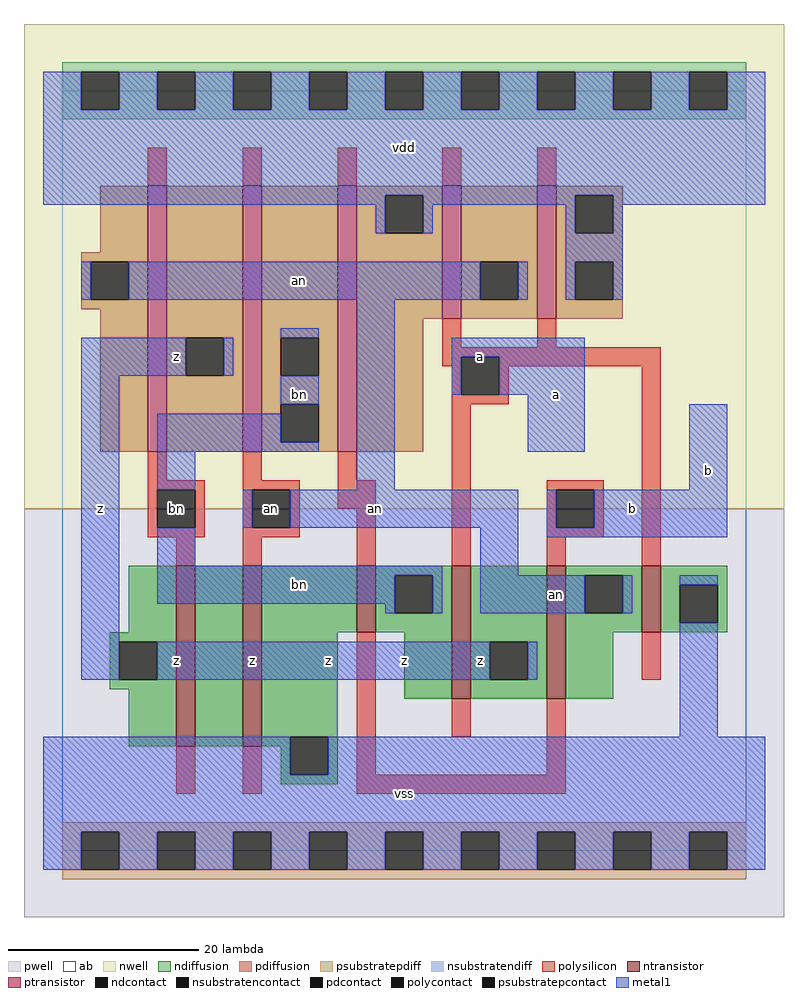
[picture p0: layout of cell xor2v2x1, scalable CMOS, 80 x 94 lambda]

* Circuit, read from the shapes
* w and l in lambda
.subckt xor2v2x1 a an b bn vdd vss z
M1 n1 bn z vss nfet w=19 l=2
M2 vss an n1 vss nfet w=19 l=2
M3 bn b vss vss nfet w=7 l=2
M4 z a bn vss nfet w=14 l=2
M5 an b z vss nfet w=14 l=2
M6 vss a an vss nfet w=7 l=2
M7 z bn an vdd pfet w=28 l=2
M8 bn an z vdd pfet w=28 l=2
M9 vdd b bn vdd pfet w=28 l=2
M10 an a vdd vdd pfet w=14 l=2 m=2
.ends

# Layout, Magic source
magic
tech scmos
<< ab >>
rect 0 0 72 80
<< pwell >>
rect -4 -7 76 36
<< nwell >>
rect -4 36 76 87
<< polysilicon >>
rect 9 70 11 74
rect 19 70 21 74
rect 29 70 31 74
rect 40 70 42 74
rect 50 70 52 74
rect 40 53 42 56
rect 50 53 52 56
rect 40 52 63 53
rect 40 51 42 52
rect 41 48 42 51
rect 46 51 63 52
rect 46 48 47 51
rect 41 47 47 48
rect 9 39 11 42
rect 19 39 21 42
rect 29 39 31 42
rect 9 38 15 39
rect 9 34 10 38
rect 14 34 15 38
rect 9 33 15 34
rect 19 38 25 39
rect 19 34 20 38
rect 24 34 25 38
rect 29 36 33 39
rect 19 33 25 34
rect 12 30 14 33
rect 19 30 21 33
rect 31 30 33 36
rect 41 30 43 47
rect 51 38 57 39
rect 51 34 52 38
rect 56 34 57 38
rect 51 33 57 34
rect 51 30 53 33
rect 61 30 63 51
rect 12 6 14 11
rect 19 6 21 11
rect 31 8 33 23
rect 61 18 63 23
rect 41 12 43 16
rect 51 8 53 16
rect 31 6 53 8
<< ndiffusion >>
rect 7 23 12 30
rect 5 22 12 23
rect 5 18 6 22
rect 10 18 12 22
rect 5 17 12 18
rect 7 11 12 17
rect 14 11 19 30
rect 21 23 31 30
rect 33 29 41 30
rect 33 25 35 29
rect 39 25 41 29
rect 33 23 41 25
rect 21 12 29 23
rect 21 11 24 12
rect 23 8 24 11
rect 28 8 29 12
rect 23 7 29 8
rect 36 16 41 23
rect 43 22 51 30
rect 43 18 45 22
rect 49 18 51 22
rect 43 16 51 18
rect 53 29 61 30
rect 53 25 55 29
rect 59 25 61 29
rect 53 23 61 25
rect 63 28 70 30
rect 63 24 65 28
rect 69 24 70 28
rect 63 23 70 24
rect 53 16 58 23
<< pdiffusion >>
rect 4 63 9 70
rect 2 62 9 63
rect 2 58 3 62
rect 7 58 9 62
rect 2 57 9 58
rect 4 42 9 57
rect 11 54 19 70
rect 11 50 13 54
rect 17 50 19 54
rect 11 42 19 50
rect 21 54 29 70
rect 21 50 23 54
rect 27 50 29 54
rect 21 47 29 50
rect 21 43 23 47
rect 27 43 29 47
rect 21 42 29 43
rect 31 69 40 70
rect 31 65 34 69
rect 38 65 40 69
rect 31 56 40 65
rect 42 62 50 70
rect 42 58 44 62
rect 48 58 50 62
rect 42 56 50 58
rect 52 69 59 70
rect 52 65 54 69
rect 58 65 59 69
rect 52 62 59 65
rect 52 58 54 62
rect 58 58 59 62
rect 52 56 59 58
rect 31 42 38 56
<< metal1 >>
rect -2 78 2 82
rect 6 78 10 82
rect 14 78 18 82
rect 22 78 26 82
rect 30 78 34 82
rect 38 78 42 82
rect 46 78 50 82
rect 54 78 58 82
rect 62 78 66 82
rect 70 78 74 82
rect -2 69 74 78
rect -2 68 34 69
rect 33 65 34 68
rect 38 68 54 69
rect 38 65 39 68
rect 53 65 54 68
rect 58 68 74 69
rect 58 65 59 68
rect 53 62 59 65
rect 2 58 3 62
rect 7 58 44 62
rect 48 58 49 62
rect 53 58 54 62
rect 58 58 59 62
rect 23 54 27 55
rect 2 50 13 54
rect 17 50 18 54
rect 2 18 6 50
rect 23 47 27 50
rect 10 43 23 46
rect 10 42 27 43
rect 10 38 14 42
rect 31 38 35 58
rect 41 52 55 54
rect 41 48 42 52
rect 46 48 55 52
rect 49 42 55 48
rect 66 38 70 47
rect 19 34 20 38
rect 24 34 48 38
rect 10 30 14 34
rect 10 29 40 30
rect 10 26 35 29
rect 34 25 35 26
rect 39 25 40 29
rect 44 29 48 34
rect 51 34 52 38
rect 56 34 70 38
rect 51 33 70 34
rect 44 25 55 29
rect 59 25 60 29
rect 65 28 69 29
rect 10 18 45 22
rect 49 18 50 22
rect 65 12 69 24
rect -2 8 24 12
rect 28 8 74 12
rect -2 2 74 8
rect -2 -2 2 2
rect 6 -2 10 2
rect 14 -2 18 2
rect 22 -2 26 2
rect 30 -2 34 2
rect 38 -2 42 2
rect 46 -2 50 2
rect 54 -2 58 2
rect 62 -2 66 2
rect 70 -2 74 2
<< ntransistor >>
rect 12 11 14 30
rect 19 11 21 30
rect 31 23 33 30
rect 41 16 43 30
rect 51 16 53 30
rect 61 23 63 30
<< ptransistor >>
rect 9 42 11 70
rect 19 42 21 70
rect 29 42 31 70
rect 40 56 42 70
rect 50 56 52 70
<< polycontact >>
rect 42 48 46 52
rect 10 34 14 38
rect 20 34 24 38
rect 52 34 56 38
<< ndcontact >>
rect 6 18 10 22
rect 35 25 39 29
rect 24 8 28 12
rect 45 18 49 22
rect 55 25 59 29
rect 65 24 69 28
<< pdcontact >>
rect 3 58 7 62
rect 13 50 17 54
rect 23 50 27 54
rect 23 43 27 47
rect 34 65 38 69
rect 44 58 48 62
rect 54 65 58 69
rect 54 58 58 62
<< psubstratepcontact >>
rect 2 -2 6 2
rect 10 -2 14 2
rect 18 -2 22 2
rect 26 -2 30 2
rect 34 -2 38 2
rect 42 -2 46 2
rect 50 -2 54 2
rect 58 -2 62 2
rect 66 -2 70 2
<< nsubstratencontact >>
rect 2 78 6 82
rect 10 78 14 82
rect 18 78 22 82
rect 26 78 30 82
rect 34 78 38 82
rect 42 78 46 82
rect 50 78 54 82
rect 58 78 62 82
rect 66 78 70 82
<< psubstratepdiff >>
rect 0 2 72 3
rect 0 -2 2 2
rect 6 -2 10 2
rect 14 -2 18 2
rect 22 -2 26 2
rect 30 -2 34 2
rect 38 -2 42 2
rect 46 -2 50 2
rect 54 -2 58 2
rect 62 -2 66 2
rect 70 -2 72 2
rect 0 -3 72 -2
<< nsubstratendiff >>
rect 0 82 72 83
rect 0 78 2 82
rect 6 78 10 82
rect 14 78 18 82
rect 22 78 26 82
rect 30 78 34 82
rect 38 78 42 82
rect 46 78 50 82
rect 54 78 58 82
rect 62 78 66 82
rect 70 78 72 82
rect 0 77 72 78
<< labels >>
rlabel polycontact 12 36 12 36 6 bn
rlabel polycontact 22 36 22 36 6 an
rlabel metal1 4 36 4 36 6 z
rlabel metal1 12 20 12 20 6 z
rlabel metal1 20 20 20 20 6 z
rlabel polycontact 12 36 12 36 6 bn
rlabel metal1 25 48 25 48 6 bn
rlabel metal1 12 52 12 52 6 z
rlabel metal1 36 6 36 6 6 vss
rlabel metal1 28 20 28 20 6 z
rlabel metal1 25 28 25 28 6 bn
rlabel metal1 36 20 36 20 6 z
rlabel metal1 36 74 36 74 6 vdd
rlabel metal1 44 20 44 20 6 z
rlabel metal1 33 36 33 36 6 an
rlabel metal1 52 48 52 48 6 a
rlabel metal1 44 52 44 52 6 a
rlabel metal1 25 60 25 60 6 an
rlabel metal1 52 27 52 27 6 an
rlabel metal1 60 36 60 36 6 b
rlabel metal1 68 40 68 40 6 b
<< end >>
